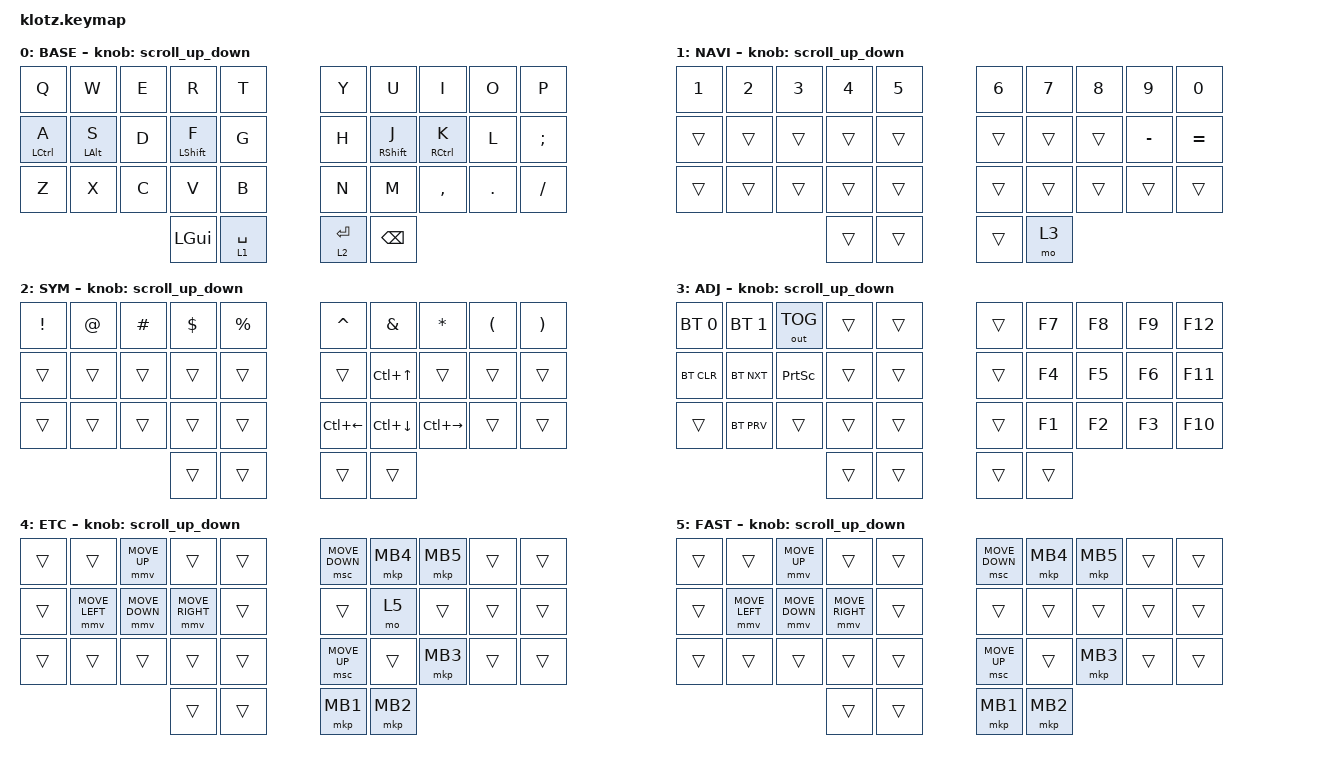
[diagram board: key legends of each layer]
//                                      █         ██        ▄▀▀▀▀▀▀▀▀▀▀█▀▀▀▀▀▀▀▀█▀▀▀▀▀▀▀▀▀▀█
//                                      █        █ █      ▄▀            ▀▄      █         █
//                                      █       █  █    ▄▀                ▀▄    █        █
//                                      █      █   █   █                    █   █       █
//                                      █     █    █   █                    █   █      █
//                                      █    █     █   █                    █   █  ▀▀▀█▀▀▀▀
//                                      █   █ █    █   █                    █   █    █
//                                      █  █   █   █   █                    █   █   █
//                                      █ █     █  █    ▀▄                ▄▀    █  █
//                                      ██       █ █      ▀▄            ▄▀      █ █
//                                      █         ██▄▄▄▄▄▄▄▄█▄▄▄▄▄▄▄▄▄▄▀        ██▄▄▄▄▄▄▄▄▄▄
//
// ▄▄▄▄▄▄▄▄▄▄▄▄▄▄▄▄▄▄▄▄▄▄▄▄▄▄▄▄▄▄▄▄▄▄▄▄▄▄▄▄▄▄▄▄▄▄▄▄▄▄▄▄▄▄▄▄▄▄▄▄▄▄▄▄▄▄▄▄▄▄▄▄▄▄▄▄▄▄▄▄▄▄▄▄▄▄▄▄▄▄▄▄▄▄▄▄▄▄▄▄▄▄▄▄▄▄▄▄▄▄▄▄▄▄▄▄▄▄▄▄▄▄▄▄▄

#include <dt-bindings/zmk/mouse.h>
#include <input/processors.dtsi>
#include <behaviors/mouse_keys.dtsi>
#include <behaviors.dtsi>
#include <dt-bindings/zmk/bt.h>
#include <dt-bindings/zmk/keys.h>
#include <dt-bindings/zmk/outputs.h>
#include <dt-bindings/zmk/pointing.h>
#define ZMK_MOUSE_SCRL_VAL 140

#define BASE 0
#define NAV 1
#define SYM 2
#define ADJ 3
#define ETC 4
#define FAST 5

// --- Mouse Settings (기존 유지) ---

&mmv {
    acceleration-exponent = <1>;
    time-to-max-speed-ms = <500>;
    delay-ms = <0>;
};

&mmv_input_listener {
    compatible = "zmk,input-listener";
    device = <&mmv>;

    fast {
        layers = <FAST>;
        input-processors = <&zip_xy_scaler 3 1>;
    };
};

&msc {
    acceleration-exponent = <0>;
    time-to-max-speed-ms = <500>;
    delay-ms = <0>;
};

&mt {
    global-quick-tap;
    flavor = "tap-preferred";
    tapping-term-ms = <150>;
};

&lt {
    quick-tap-ms = <150>;
    tapping-term-ms = <150>;
};

/ {
    /* 1. LED 인디케이터 설정 추가 */

    led_indicators {
        compatible = "zmk,control-led-indicator";

        // BASE 레이어 (D3 LED)

        layer_base {
            led = <&led_d3>;
            usage = "layer-state";
            layers = <BASE>;
        };

        // NAV 레이어 (D4 LED)

        layer_nav {
            led = <&led_d4>;
            usage = "layer-state";
            layers = <NAV>;
        };

        // SYM 레이어 (D5 LED)

        layer_sym {
            led = <&led_d5>;
            usage = "layer-state";
            layers = <SYM>;
        };
    };

    combos {
        compatible = "zmk,combos";

        combo_esc {
            timeout-ms = <50>;
            key-positions = <0 1>;
            bindings = <&kp ESC>;
        };

        caps {
            bindings = <&kp CAPSLOCK>;
            key-positions = <10 20>;
        };

        bs {
            bindings = <&kp GRAVE>;
            key-positions = <0 10>;
        };

        lbkt {
            bindings = <&kp LEFT_BRACKET>;
            key-positions = <8 9>;
        };

        rbkt {
            bindings = <&kp RIGHT_BRACKET>;
            key-positions = <18 19>;
        };

        app {
            bindings = <&kp SQT>;
            key-positions = <19 29>;
        };

        bss {
            bindings = <&kp BACKSLASH>;
            key-positions = <9 19>;
        };
    };

    behaviors {
        lt_mt: long_tap_mod_tap {
            compatible = "zmk,behavior-hold-tap";
            label = "LONG_TAP";
            #binding-cells = <2>;
            flavor = "tap-preferred";
            tapping-term-ms = <210>;
            bindings = <&kp>, <&kp>;
        };
         scroll_up_down: scroll_up_down {
            compatible = "zmk,behavior-sensor-rotate";
            #sensor-binding-cells = <0>;
            bindings = <&msc SCRL_UP>, <&msc SCRL_DOWN>;
            tap-ms = <150>;
        };
    };

    keymap {
        compatible = "zmk,keymap";

        base_layer {
            label = "BASE";
            bindings = <
&kp Q           &kp W       &kp E  &kp R         &kp T        &kp Y        &kp U        &kp I        &kp O    &kp P
&lt_mt LCTRL A  &mt LALT S  &kp D  &mt LSHIFT F  &kp G        &kp H        &mt RSHFT J  &mt RCTRL K  &kp L    &kp SEMICOLON
&kp Z           &kp X       &kp C  &kp V         &kp B        &kp N        &kp M        &kp COMMA    &kp DOT  &kp FSLH
                                   &kp LGUI      &lt 1 SPACE  &lt 2 ENTER  &kp BSPC
            >;

                sensor-bindings = <&scroll_up_down>;
        };

        nav_layer {
            label = "NAVI";
            bindings = <
&kp NUMBER_1  &kp NUMBER_2  &kp NUMBER_3  &kp NUMBER_4  &kp N5  &kp NUMBER_6  &kp N7  &kp N8  &kp N9     &kp N0
&trans        &trans        &trans        &trans        &trans  &trans        &trans  &trans  &kp MINUS  &kp EQUAL
&trans        &trans        &trans        &trans        &trans  &trans        &trans  &trans  &trans     &trans
                                          &trans        &trans  &trans        &mo 3
            >;
sensor-bindings = <&scroll_up_down>;
        };

        sym_layer {
            label = "SYM";
            bindings = <
&kp EXCLAMATION  &kp AT_SIGN  &kp HASH  &kp DOLLAR  &kp PERCENT  &kp CARET     &kp AMPS          &kp ASTERISK   &kp LEFT_PARENTHESIS  &kp RIGHT_PARENTHESIS
&trans           &trans       &trans    &trans      &trans       &trans        &kp LC(UP_ARROW)  &trans         &trans                &trans
&trans           &trans       &trans    &trans      &trans       &kp LC(LEFT)  &kp LC(DOWN)      &kp LC(RIGHT)  &trans                &trans
                                        &trans      &trans       &trans        &trans
            >;
sensor-bindings = <&scroll_up_down>;
        };

        adjust_layer {
            label = "ADJ";
            bindings = <
&bt BT_SEL 0  &bt BT_SEL 1  &out OUT_TOG  &trans  &trans  &trans  &kp F7  &kp F8  &kp F9  &kp F12
&bt BT_CLR    &bt BT_NXT    &kp PSCRN     &trans  &trans  &trans  &kp F4  &kp F5  &kp F6  &kp F11
&trans        &bt BT_PRV    &trans        &trans  &trans  &trans  &kp F1  &kp F2  &kp F3  &kp F10
                                          &trans  &trans  &trans  &trans
            >;
sensor-bindings = <&scroll_up_down>;
        };

        etc_layer {
            label = "ETC";
            bindings = <
&trans  &trans          &mmv MOVE_UP    &trans           &trans  &msc MOVE_DOWN  &mkp MB4  &mkp MB5  &trans  &trans
&trans  &mmv MOVE_LEFT  &mmv MOVE_DOWN  &mmv MOVE_RIGHT  &trans  &trans          &mo 5     &trans    &trans  &trans
&trans  &trans          &trans          &trans           &trans  &msc MOVE_UP    &trans    &mkp MB3  &trans  &trans
                                        &trans           &trans  &mkp MB1        &mkp MB2
            >;
sensor-bindings = <&scroll_up_down>;
        };

        fast_layer {
            label = "FAST";
            bindings = <
&trans  &trans          &mmv MOVE_UP    &trans           &trans  &msc MOVE_DOWN  &mkp MB4  &mkp MB5  &trans  &trans
&trans  &mmv MOVE_LEFT  &mmv MOVE_DOWN  &mmv MOVE_RIGHT  &trans  &trans          &trans    &trans    &trans  &trans
&trans  &trans          &trans          &trans           &trans  &msc MOVE_UP    &trans    &mkp MB3  &trans  &trans
                                        &trans           &trans  &mkp MB1        &mkp MB2
            >;
sensor-bindings = <&scroll_up_down>;
        };
    };
};
